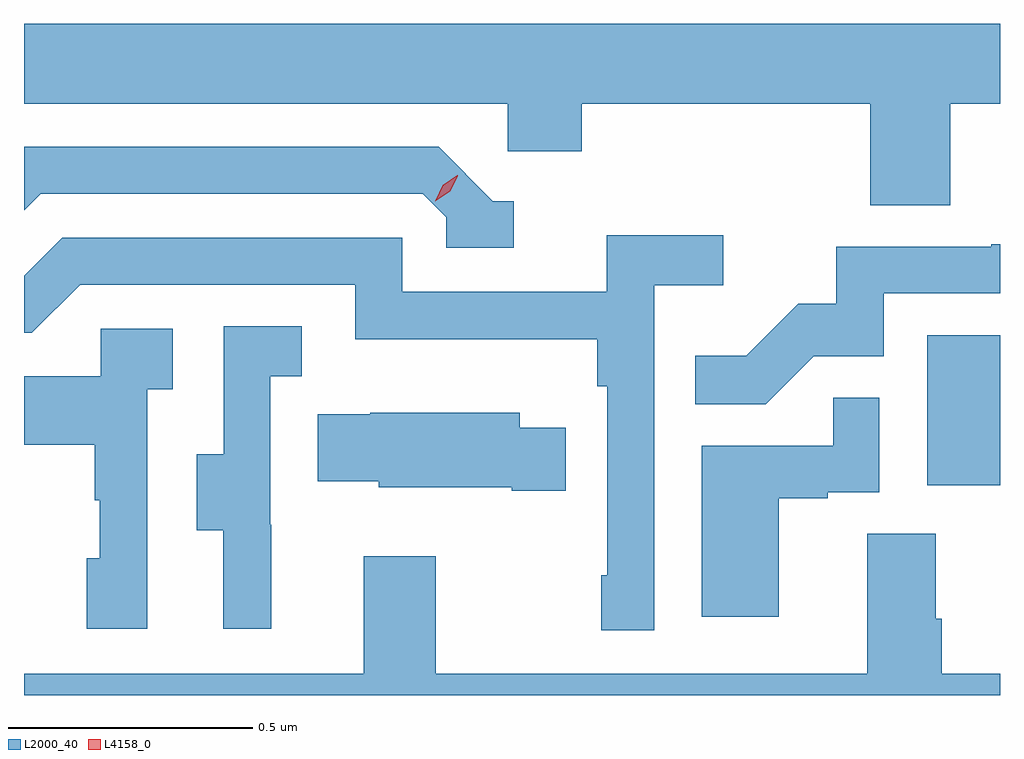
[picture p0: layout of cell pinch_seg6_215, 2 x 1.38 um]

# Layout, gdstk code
import gdstk
lib = gdstk.Library(unit=1e-6, precision=1e-09)
def R(c, l, rs):  # rectangles x0, y0, x1, y1
    for r in rs: c.add(gdstk.rectangle(r[:2], r[2:], *l))
def P(c, l, *ps):  # polygons
    for p in ps: c.add(gdstk.Polygon(p, *l))
L2000_40 = (2000, 40)
L4158_0 = (4158, 0)

pinch_seg6_215 = lib.new_cell('pinch_seg6_215')
R(pinch_seg6_215, L2000_40, [(1026.056,918.582,1026.205,918.889)])
P(pinch_seg6_215, L2000_40, [(1026.103,919.364),(1026.205,919.364),(1026.205,919.528),(1024.205,919.528),(1024.205,919.364),(1025.196,919.364),(1025.196,919.266),(1025.348,919.266),(1025.348,919.364),(1025.939,919.364),(1025.939,919.156),(1026.103,919.156)],
  [(1025.209,919.164),(1025.166,919.164),(1025.055,919.275),(1024.205,919.275),(1024.205,919.145),(1024.239,919.179),(1025.022,919.179),(1025.07,919.131),(1025.07,919.068),(1025.209,919.068)],
  [(1025.496,918.992),(1025.638,918.992),(1025.638,919.094),(1025.399,919.094),(1025.399,918.978),(1024.98,918.978),(1024.98,919.089),(1024.283,919.089),(1024.205,919.011),(1024.205,918.894),(1024.221,918.894),(1024.32,918.993),(1024.884,918.993),(1024.884,918.881),(1025.38,918.881),(1025.38,918.785),(1025.4,918.785),(1025.4,918.397),(1025.388,918.397),(1025.388,918.285),(1025.496,918.285)],
  [(1025.823,918.846),(1025.967,918.846),(1025.967,918.975),(1026.205,918.975),(1026.205,919.076),(1026.187,919.076),(1026.187,919.071),(1025.869,919.071),(1025.869,918.954),(1025.792,918.954),(1025.685,918.847),(1025.581,918.847),(1025.581,918.748),(1025.725,918.748)],
  [(1024.712,918.501),(1024.71,918.501),(1024.71,918.805),(1024.774,918.805),(1024.774,918.908),(1024.614,918.908),(1024.614,918.645),(1024.559,918.645),(1024.559,918.49),(1024.613,918.49),(1024.613,918.288),(1024.712,918.288)],
  [(1024.458,918.779),(1024.51,918.779),(1024.51,918.903),(1024.362,918.903),(1024.362,918.805),(1024.205,918.805),(1024.205,918.665),(1024.35,918.665),(1024.35,918.551),(1024.36,918.551),(1024.36,918.432),(1024.334,918.432),(1024.334,918.288),(1024.458,918.288)],
  [(1025.752,918.555),(1025.852,918.555),(1025.852,918.567),(1025.958,918.567),(1025.958,918.761),(1025.863,918.761),(1025.863,918.663),(1025.594,918.663),(1025.594,918.312),(1025.752,918.312)],
  [(1025.315,918.7),(1025.221,918.7),(1025.221,918.73),(1024.915,918.73),(1024.915,918.727),(1024.807,918.727),(1024.807,918.59),(1024.932,918.59),(1024.932,918.578),(1025.204,918.578),(1025.204,918.571),(1025.315,918.571)],
  [(1026.205,918.196),(1026.086,918.196),(1026.086,918.308),(1026.073,918.308),(1026.073,918.482),(1025.933,918.482),(1025.933,918.196),(1025.049,918.196),(1025.049,918.436),(1024.901,918.436),(1024.901,918.196),(1024.205,918.196),(1024.205,918.151),(1026.205,918.151)])
P(pinch_seg6_215, L4158_0, [(1025.048,919.164),(1025.048,919.164),(1025.063,919.197),(1025.093,919.217),(1025.094,919.217),(1025.094,919.216),(1025.078,919.184),(1025.048,919.164)])

lib.write_gds('pinch_seg6_215.gds')
